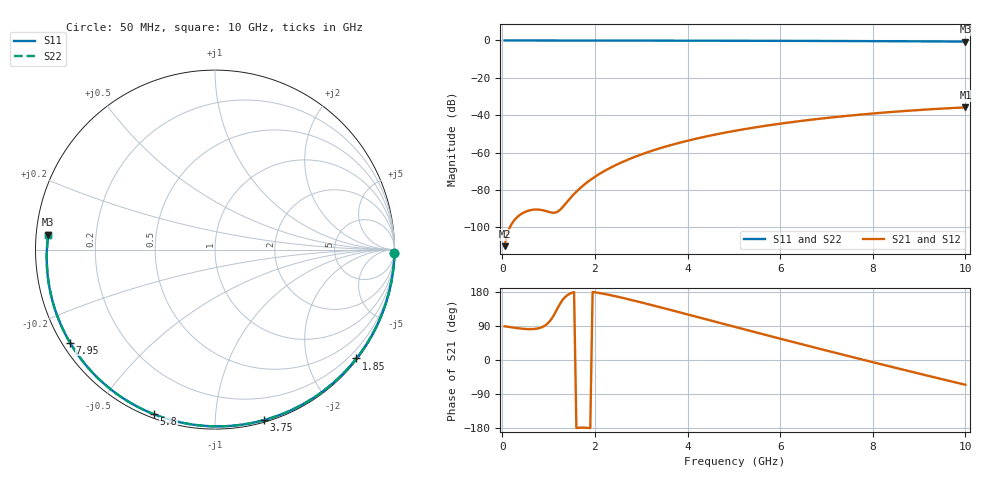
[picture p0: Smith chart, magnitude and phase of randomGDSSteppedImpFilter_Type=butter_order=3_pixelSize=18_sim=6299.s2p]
! freq	dB(S11)	phase(S11)	dB(S12)	phase(S12)
!  dB(S21)	phase(S21)	dB(S22)	phase(S22)
!S-par simulation data
#  GHz  S  DB  R 50
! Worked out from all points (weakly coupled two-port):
!   200 points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, 50 MHz to 10 GHz, reference 50 ohm
!   highest |S21| = -35.84 dB at 10 GHz (marker M1); lowest = -110.2 dB at 50 MHz (marker M2)
!   lowest |S11| = -0.6 dB at 10 GHz (marker M3), VSWR 28.66, Z = 1.75 + j2.21 ohm
!   |S11| at or under -10 dB: nowhere
!   |S22| runs from -0.6 to 0.0 dB; largest |S21 - S12| = 0
!   S11 on the Smith chart (normalised r, x): 50 MHz: open; 1.85 GHz: 0.03, -2.94; 3.75 GHz: 0.02, -1.33; 5.8 GHz: 0.02, -0.70; 7.95 GHz: 0.02, -0.29; 10 GHz: 0.03, +0.04
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0.05  -0.00 -1.0  -110.15 89.0  -110.15 89.0  -0.00 -1.0
0.4  -0.01 -8.3  -93.07 83.0  -93.07 83.0  -0.01 -8.3
0.8  -0.02 -16.5  -90.61 84.2  -90.61 84.2  -0.02 -16.5
1.2  -0.03 -24.6  -91.59 138.1  -91.59 138.1  -0.03 -24.6
1.6  -0.04 -32.6  -80.97 -179.6  -80.97 -179.6  -0.04 -32.6
1.65  -0.04 -33.6  -79.78 -178.9  -79.78 -178.9  -0.04 -33.6
1.75  -0.05 -35.6  -77.60 -178.5  -77.60 -178.5  -0.05 -35.6
1.85  -0.05 -37.6  -75.63 -179.2  -75.63 -179.2  -0.05 -37.6
2.15  -0.06 -43.5  -70.69 175.6  -70.69 175.6  -0.06 -43.5
2.5  -0.06 -50.3  -66.15 166.7  -66.15 166.7  -0.06 -50.3
2.9  -0.08 -58.0  -61.98 155.0  -61.98 155.0  -0.08 -58.0
3.4  -0.09 -67.4  -57.76 139.5  -57.76 139.5  -0.09 -67.4
3.75  -0.10 -73.9  -55.28 128.3  -55.28 128.3  -0.10 -73.9
4.4  -0.12 -85.8  -51.42 107.4  -51.42 107.4  -0.12 -85.8
5.05  -0.15 -97.3  -48.26 86.5  -48.26 86.5  -0.15 -97.3
5.8  -0.19 -110.4  -45.26 62.6  -45.26 62.6  -0.19 -110.4
6.7  -0.25 -125.8  -42.35 34.3  -42.35 34.3  -0.25 -125.8
7.35  -0.30 -136.9  -40.61 14.1  -40.61 14.1  -0.30 -136.9
7.95  -0.36 -147.3  -39.22 -4.3  -39.22 -4.3  -0.36 -147.3
8.35  -0.40 -154.3  -38.40 -16.4  -38.40 -16.4  -0.40 -154.3
9.2  -0.50 -169.7  -36.92 -41.9  -36.92 -41.9  -0.50 -169.7
10  -0.61 174.9  -35.84 -65.4  -35.84 -65.4  -0.61 174.9
